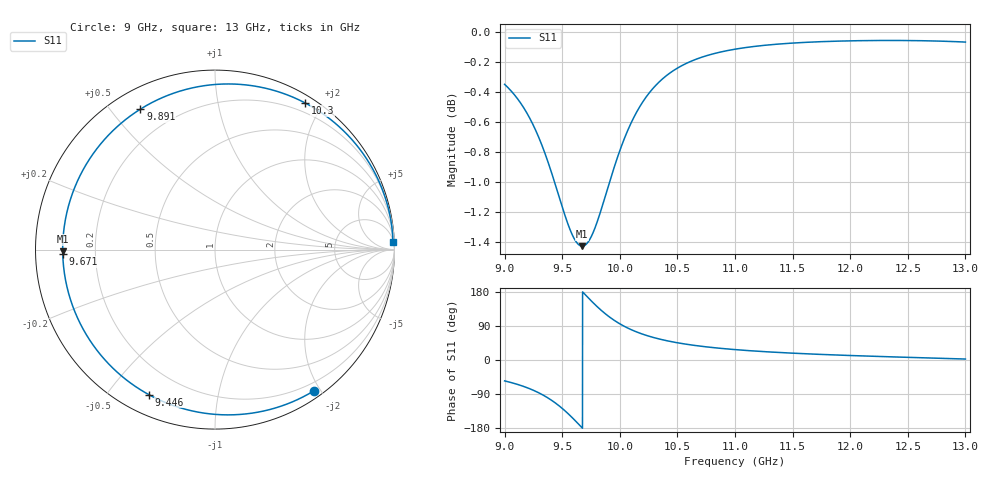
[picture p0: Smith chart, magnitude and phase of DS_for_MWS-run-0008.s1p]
! TOUCHSTONE file generated by CST DESIGN STUDIO
! Date and time: Tue Feb  4 14:00:19 2025
! Project name: C:\Work\MatlabApps\UnitCellOptimizationMatlab\CST\unitcell.cst
! Tree item: Tasks\Sweep1\SPara1\S-Parameters
! Header version: 2024
! Port assignment regex: !\s*Touchstone port\s*([0-9]+)\s*=\s*(CST MWS port|CST DES external port|CST DES block port)\s*(.+)\s* \(\"(.*)\"\)(\s*mode\s*([0-9]+))?.*
! Touchstone port assignment:
! Touchstone port 1 = CST DES external port 1 ("")
# GHz S MA R 50
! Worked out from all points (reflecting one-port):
!   4001 points, 9 GHz to 13 GHz, reference 50 ohm
!   lowest |S11| = -1.4 dB at 9.674 GHz (marker M1), VSWR 12.21, Z = 4.09 - j0.285 ohm
!   phase of S11 starts at -55 deg and turns -302 deg over the sweep
!   S11 on the Smith chart (normalised r, x): 9 GHz: 0.09, -1.91; 9.446 GHz: 0.08, -0.64; 9.671 GHz: 0.08, -0.01; 9.891 GHz: 0.08, +0.60; 10.3 GHz: 0.09, +1.78; 13 GHz: 8, +44
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9  0.9605 -55.1
9.115  0.9497 -64.7
9.228  0.9344 -77.1
9.349  0.9114 -95.2
9.399  0.8998 -104.6
9.446  0.8881 -114.6
9.5  0.8746 -127.7
9.546  0.8639 -140.1
9.594  0.855 -154.2
9.633  0.8504 -166.3
9.671  0.8486 -178.4
9.674  0.8486 -179.3
9.719  0.8508 166.3
9.767  0.8573 151.5
9.83  0.8707 133.4
9.891  0.8861 118.0
9.943  0.8994 106.4
10  0.913 95.5
10.066  0.9267 84.7
10.145  0.9402 74.2
10.303  0.959 58.5
10.5  0.9725 45.5
10.719  0.9809 35.8
11  0.9867 27.4
11.5  0.9914 18.0
12  0.9931 11.8
12.5  0.9933 7.0
13  0.9921 2.5
